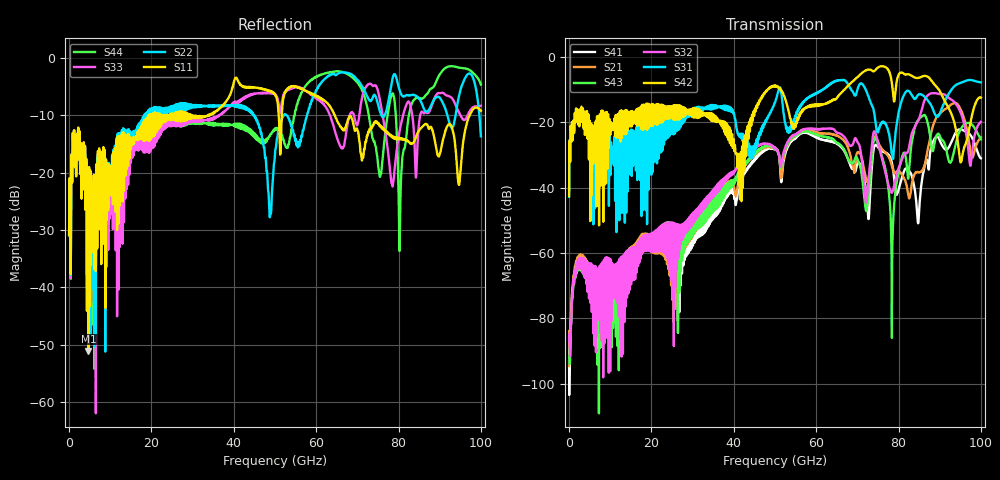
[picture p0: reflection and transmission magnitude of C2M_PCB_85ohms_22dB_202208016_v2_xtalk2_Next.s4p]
! Info: Touchstone file created by Circ.  Input file=Intel_C2M_200G_8p5in_202208016_staggered.circ
# Hz S RI R 50
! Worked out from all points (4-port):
!   10000 points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, 10 MHz to 100 GHz, reference 50 ohm
!   strongest paths, dB at 10 MHz, 25.01 GHz, 50.01 GHz, 75.01 GHz, 100 GHz:
!     S42: -42.6, -18.8, -9.1, -3.3, -12.5
!     S31: -42.7, -23.2, -14.0, -23.1, -7.8
!     S32: -85.3, -52.4, -27.9, -26.1, -19.8
!     S43: -89.2, -52.4, -27.8, -26.7, -25.2
!     S21: -94.5, -55.1, -28.1, -26.0, -24.6
!     S41: -92.9, -54.4, -28.2, -27.6, -31.0
!   lowest |S11| = -51.1 dB at 4.7 GHz (marker M1), VSWR 1.01, Z = 50.1 - j0.243 ohm
!   |S11| at or under -10 dB: start of sweep to 19.29 GHz; 29.9 GHz to 33.75 GHz (3.847 GHz wide, 12.1 % of centre); 64.55 GHz to 97.27 GHz (32.72 GHz wide, 40.4 % of centre)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
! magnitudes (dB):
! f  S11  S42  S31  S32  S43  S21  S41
! 10 MHz  -30.8  -42.6  -42.7  -85.3  -89.2  -94.5  -92.9
! 4.7 GHz  -51.1  -18.2  -19.1  -63.3  -66.2  -63.0  -65.3
! 56.56 GHz  -5.3  -16.4  -14.2  -22.3  -22.9  -22.4  -23.2
! 74.52 GHz  -11.1  -3.9  -20.9  -23.8  -25.2  -24.7  -27.0
! 78.43 GHz  -13.6  -8.4  -29.7  -41.5  -66.5  -33.6  -32.6
! 85.12 GHz  -12.5  -6.4  -11.4  -18.4  -18.8  -35.4  -44.6
! 100 GHz  -9.2  -12.5  -7.8  -19.8  -25.2  -24.6  -31.0
